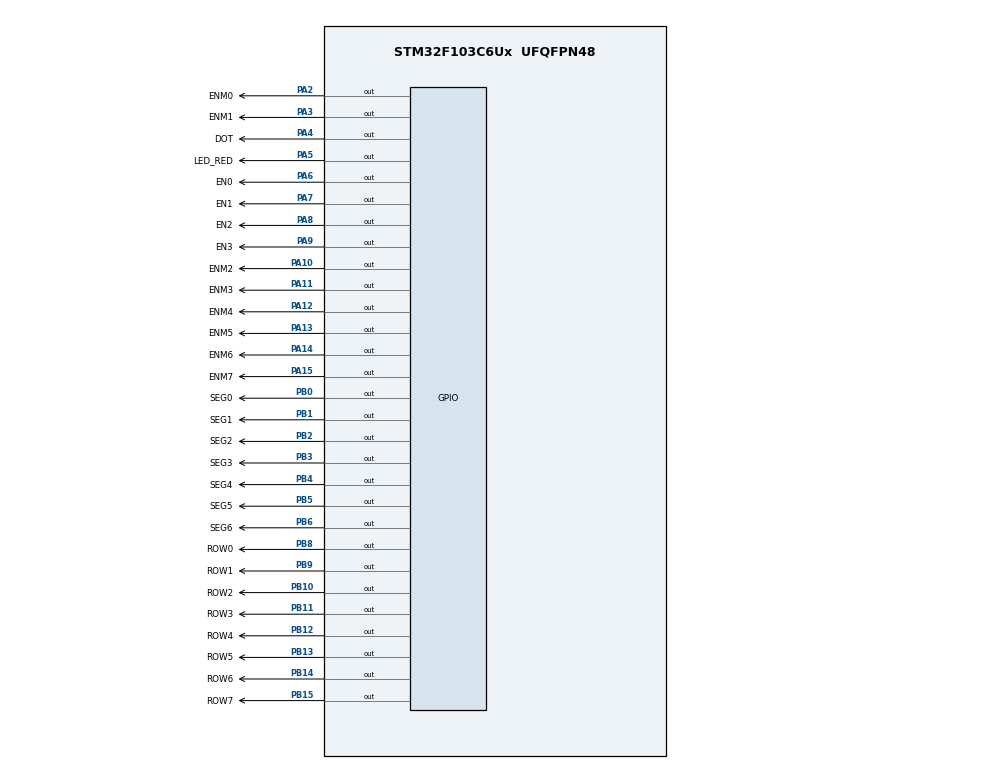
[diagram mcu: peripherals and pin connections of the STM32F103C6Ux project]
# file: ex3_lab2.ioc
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Mcu.Family=STM32F1
Mcu.Name=STM32F103C6Ux
Mcu.Package=UFQFPN48
NVIC.PriorityGroup=NVIC_PRIORITYGROUP_4
NVIC.TIM2_IRQn=true\:0\:0\:false\:false\:true\:true\:true
PA10.GPIO_Label=ENM2
PA10.Signal=GPIO_Output
PA11.GPIO_Label=ENM3
PA11.Signal=GPIO_Output
PA12.GPIO_Label=ENM4
PA12.Signal=GPIO_Output
PA13.GPIO_Label=ENM5
PA13.Signal=GPIO_Output
PA14.GPIO_Label=ENM6
PA14.Signal=GPIO_Output
PA15.GPIO_Label=ENM7
PA15.Signal=GPIO_Output
PA2.GPIO_Label=ENM0
PA2.Signal=GPIO_Output
PA3.GPIO_Label=ENM1
PA3.Signal=GPIO_Output
PA4.GPIO_Label=DOT
PA4.Signal=GPIO_Output
PA5.GPIO_Label=LED_RED
PA5.Signal=GPIO_Output
PA6.GPIO_Label=EN0
PA6.Signal=GPIO_Output
PA7.GPIO_Label=EN1
PA7.Signal=GPIO_Output
PA8.GPIO_Label=EN2
PA8.Signal=GPIO_Output
PA9.GPIO_Label=EN3
PA9.Signal=GPIO_Output
PB0.GPIO_Label=SEG0
PB0.Signal=GPIO_Output
PB1.GPIO_Label=SEG1
PB1.Signal=GPIO_Output
PB10.GPIO_Label=ROW2
PB10.Signal=GPIO_Output
PB11.GPIO_Label=ROW3
PB11.Signal=GPIO_Output
PB12.GPIO_Label=ROW4
PB12.Signal=GPIO_Output
PB13.GPIO_Label=ROW5
PB13.Signal=GPIO_Output
PB14.GPIO_Label=ROW6
PB14.Signal=GPIO_Output
PB15.GPIO_Label=ROW7
PB15.Signal=GPIO_Output
PB2.GPIO_Label=SEG2
PB2.Signal=GPIO_Output
PB3.GPIO_Label=SEG3
PB3.Signal=GPIO_Output
PB4.GPIO_Label=SEG4
PB4.Signal=GPIO_Output
PB5.GPIO_Label=SEG5
PB5.Signal=GPIO_Output
PB6.GPIO_Label=SEG6
PB6.Signal=GPIO_Output
PB8.GPIO_Label=ROW0
PB8.Signal=GPIO_Output
PB9.GPIO_Label=ROW1
PB9.Signal=GPIO_Output
ProjectManager.HeapSize=0x200
ProjectManager.StackSize=0x400
ProjectManager.TargetToolchain=STM32CubeIDE
RCC.APB1Freq_Value=8000000
RCC.APB2Freq_Value=8000000
TIM2.Period=9
TIM2.Prescaler=799
VP_SYS_VS_ND.Mode=No_Debug
VP_TIM2_VS_ClockSourceINT.Mode=Internal
board=custom

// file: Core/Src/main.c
/* USER CODE BEGIN Header */
/**
  ******************************************************************************
  * @file           : main.c
  * @brief          : Main program body
  ******************************************************************************
  * @attention
  *
  * <h2><center>&copy; Copyright (c) 2022 STMicroelectronics.
  * All rights reserved.</center></h2>
  *
  * This software component is licensed by ST under BSD 3-Clause license,
  * the "License"; You may not use this file except in compliance with the
  * License. You may obtain a copy of the License at:
  *                        opensource.org/licenses/BSD-3-Clause
  *
  ******************************************************************************
  */
/* USER CODE END Header */
#include "main.h"

/* USER CODE BEGIN Includes */
#include "software_timer.h"
/* USER CODE END Includes */

TIM_HandleTypeDef htim2;

void SystemClock_Config(void);
static void MX_GPIO_Init(void);
static void MX_TIM2_Init(void);

/* USER CODE BEGIN 0 */
int hour = 15 , minute = 8 , second = 50;
void display7SEG(int num){
	uint16_t display[10] = {0x3f, 0x06, 0x5b, 0x4f, 0x66, 0x6d, 0x7D, 0x07, 0x7F, 0x6f};
	uint16_t bit_var = display[num];
	HAL_GPIO_WritePin(GPIOB, bit_var, RESET);
	HAL_GPIO_WritePin(GPIOB, ~bit_var, SET);
}
const int MAX_LED = 4;
int index_led = 0;
int led_buffer[4] = {1,2,3,4};
void update7SEG(int index){
	switch(index){
	case 0:
		// Display the first 7 SEG with led_buffer [0]
		HAL_GPIO_WritePin(GPIOA, EN0_Pin, RESET);
		HAL_GPIO_WritePin(GPIOA, EN1_Pin | EN2_Pin | EN3_Pin, SET);
		display7SEG(led_buffer[0]);
		break;
	case 1:
		// Display the second 7 SEG with led_buffer [1]
		HAL_GPIO_WritePin(GPIOA, EN1_Pin, RESET);
		HAL_GPIO_WritePin(GPIOA, EN0_Pin | EN2_Pin | EN3_Pin, SET);
		display7SEG(led_buffer[1]);
		break;
	case 2:
		// Display the third 7 SEG with led_buffer [2]
		HAL_GPIO_WritePin(GPIOA, EN2_Pin, RESET);
		HAL_GPIO_WritePin(GPIOA, EN0_Pin | EN1_Pin | EN3_Pin, SET);
		display7SEG(led_buffer[2]);
		break;
	case 3:
		// Display the forth 7 SEG with led_buffer [3]
		HAL_GPIO_WritePin(GPIOA, EN3_Pin, RESET);
		HAL_GPIO_WritePin(GPIOA, EN0_Pin| EN1_Pin | EN2_Pin , SET);
		display7SEG(led_buffer[3]);
		break;
	default:
		break;
	}
}
void updateClockBuffer(){
	if(hour >= 0 && hour <=9){
		led_buffer[0] = 0;
		led_buffer[1] = hour;
	}
	if(hour >=10 && hour <=23){
		led_buffer[1] = hour%10;
		led_buffer[0] = hour/10;
	}
	if(minute >= 0 && minute <=9){
			led_buffer[2] = 0;
			led_buffer[3] = minute;
		}
	if(minute >=10 && minute <=59){
			led_buffer[3] = minute%10;
			led_buffer[2] = minute/10;
		}
}
void HAL_TIM_PeriodElapsedCallback(TIM_HandleTypeDef* htim)
{
	timerRun();
}
//LED MATRIX

const int MAX_LED_MATRIX = 8;
int index_led_matrix = 0;
//uint8_t matrix_buffer[8] = {0x01, 0x02, 0x03, 0x04, 0x05, 0x06, 0x07, 0x08};
uint8_t matrix_buffer[8] = {0x00, 0xFC, 0xfe, 0x33, 0x33, 0xFE, 0xFC, 0x00};
//chang_matrix_buffer is used to shift left elements in matrix_buffer
void chang_matrix_buffer(uint8_t matrix_buffer[], uint8_t n){
	//create temporary variable var to convert matrix_buffer[i]
	// and matrix_buffer[i+1];
	// temp variable is used to change value the first value
	//and the final value element
	uint8_t temp;
	temp = matrix_buffer[0];
	uint8_t var;
	for(uint8_t i = 0; i<n-1; ++i){
		var = matrix_buffer[i];
		matrix_buffer[i] = matrix_buffer[i+1];
		matrix_buffer[i + 1] = var;
	}
	matrix_buffer[n-1] = temp;
}
void updateLEDMatrix (int index ) {
	switch (index) {
	case 0:
		HAL_GPIO_WritePin(ENM0_GPIO_Port, ENM0_Pin, RESET);
		HAL_GPIO_WritePin(GPIOA, ENM1_Pin|ENM2_Pin|ENM3_Pin|ENM4_Pin|ENM5_Pin|ENM6_Pin|ENM7_Pin, SET);
		HAL_GPIO_WritePin(GPIOB, 0xff<<8, SET);
		HAL_GPIO_WritePin(GPIOB, matrix_buffer[index]<<8, RESET);
		break ;
	case 1:
		HAL_GPIO_WritePin(ENM1_GPIO_Port, ENM1_Pin, RESET);
		HAL_GPIO_WritePin(GPIOA, ENM0_Pin|ENM2_Pin|ENM3_Pin|ENM4_Pin|ENM5_Pin|ENM6_Pin|ENM7_Pin, SET);
		HAL_GPIO_WritePin(GPIOB, 0xff<<8, SET);
		HAL_GPIO_WritePin(GPIOB, matrix_buffer[index]<<8, RESET);
		break;
	case 2:
		HAL_GPIO_WritePin(ENM2_GPIO_Port, ENM2_Pin, RESET);
		HAL_GPIO_WritePin(GPIOA, ENM0_Pin|ENM1_Pin| ENM3_Pin|ENM4_Pin|ENM5_Pin|ENM6_Pin|ENM7_Pin, SET);
		HAL_GPIO_WritePin(GPIOB, 0xff<<8, SET);
		HAL_GPIO_WritePin(GPIOB, matrix_buffer[index]<<8, RESET);
		break;
	case 3:
		HAL_GPIO_WritePin(ENM3_GPIO_Port, ENM3_Pin, RESET);
		HAL_GPIO_WritePin(GPIOA, ENM0_Pin|ENM1_Pin|ENM2_Pin|ENM4_Pin|ENM5_Pin|ENM6_Pin|ENM7_Pin, SET);
		HAL_GPIO_WritePin(GPIOB, 0xff<<8, SET);
		HAL_GPIO_WritePin(GPIOB, matrix_buffer[index]<<8, RESET);
		break;
	case 4:
		HAL_GPIO_WritePin(ENM4_GPIO_Port, ENM4_Pin, RESET);
		HAL_GPIO_WritePin(GPIOA, ENM0_Pin|ENM1_Pin|ENM2_Pin|ENM3_Pin|ENM5_Pin|ENM6_Pin|ENM7_Pin, SET);
		HAL_GPIO_WritePin(GPIOB, 0xff<<8, SET);
		HAL_GPIO_WritePin(GPIOB, matrix_buffer[index]<<8, RESET);
		break;
	case 5:
		HAL_GPIO_WritePin(ENM5_GPIO_Port, ENM5_Pin, RESET);
		HAL_GPIO_WritePin(GPIOA, ENM0_Pin|ENM1_Pin|ENM2_Pin|ENM3_Pin|ENM4_Pin|ENM6_Pin|ENM7_Pin, SET);
		HAL_GPIO_WritePin(GPIOB, 0xff<<8, SET);
		HAL_GPIO_WritePin(GPIOB, matrix_buffer[index]<<8, RESET);
		break;
	case 6:
		HAL_GPIO_WritePin(ENM6_GPIO_Port, ENM6_Pin, RESET);
		HAL_GPIO_WritePin(GPIOA, ENM0_Pin|ENM1_Pin|ENM2_Pin|ENM3_Pin|ENM4_Pin|ENM5_Pin|ENM7_Pin, SET);
		HAL_GPIO_WritePin(GPIOB, 0xff<<8, SET);
		HAL_GPIO_WritePin(GPIOB, matrix_buffer[index]<<8, RESET);
		break;
	case 7:
		HAL_GPIO_WritePin(ENM7_GPIO_Port, ENM7_Pin, RESET);
		HAL_GPIO_WritePin(GPIOA, ENM0_Pin|ENM1_Pin|ENM2_Pin|ENM3_Pin|ENM4_Pin|ENM5_Pin|ENM6_Pin, SET);
		HAL_GPIO_WritePin(GPIOB, 0xff<<8, SET);
		HAL_GPIO_WritePin(GPIOB, matrix_buffer[index]<<8, RESET);
		break;
	default:
		break;
	}
}
/* USER CODE END 0 */

int main(void)
{

  /* MCU Configuration--------------------------------------------------------*/

  /* Reset of all peripherals, Initializes the Flash interface and the Systick. */
  HAL_Init();

  /* Configure the system clock */
  SystemClock_Config();

  /* Initialize all configured peripherals */
  MX_GPIO_Init();
  MX_TIM2_Init();
  /* USER CODE BEGIN 2 */
  HAL_TIM_Base_Start_IT(&htim2);
  setTimer0(100);
  setTimer1(25) ;
  setTimer2(10) ;
  setTimer3(10);
  /* USER CODE END 2 */

  /* Infinite loop */
  /* USER CODE BEGIN WHILE */
  while (1)
  {
	  //DOT and LED_RED
	  if(timer0_flag == 1) {
	  		  HAL_GPIO_TogglePin(DOT_GPIO_Port, DOT_Pin);
	  		  HAL_GPIO_TogglePin(LED_RED_GPIO_Port, LED_RED_Pin);
	  		  setTimer0(100) ;
	  }
	  //update7SEG
	  if(timer1_flag == 1){
		  update7SEG(index_led++);
		  		if(index_led > 3) index_led = 0;
		  setTimer1(25);
	  }
	  //clock
	  if(timer2_flag == 1){
		  second++;
		  if(second >= 60){
		 	second = 0;
		 	minute++;
		 }
		  if(minute >=60){
		 	minute = 0;
		 	hour++;
		 	}
		  if(hour >=24){
			  hour = 0;
		  }
		  updateClockBuffer();
		  setTimer2(100);
	  }
	  //
	  if(timer3_flag == 1){
		  if(index_led_matrix > 7) {
			  index_led_matrix = 0;
		      chang_matrix_buffer(matrix_buffer, 8);
		  }
		  updateLEDMatrix(index_led_matrix++);
		  setTimer3(20);
	  }
    /* USER CODE END WHILE */

  }
}

void SystemClock_Config(void)
{
  RCC_OscInitTypeDef RCC_OscInitStruct = {0};
  RCC_ClkInitTypeDef RCC_ClkInitStruct = {0};

  /** Initializes the RCC Oscillators according to the specified parameters
  * in the RCC_OscInitTypeDef structure.
  */
  RCC_OscInitStruct.OscillatorType = RCC_OSCILLATORTYPE_HSI;
  RCC_OscInitStruct.HSIState = RCC_HSI_ON;
  RCC_OscInitStruct.HSICalibrationValue = RCC_HSICALIBRATION_DEFAULT;
  RCC_OscInitStruct.PLL.PLLState = RCC_PLL_NONE;
  if (HAL_RCC_OscConfig(&RCC_OscInitStruct) != HAL_OK)
  {
    Error_Handler();
  }
  /** Initializes the CPU, AHB and APB buses clocks
  */
  RCC_ClkInitStruct.ClockType = RCC_CLOCKTYPE_HCLK|RCC_CLOCKTYPE_SYSCLK
                              |RCC_CLOCKTYPE_PCLK1|RCC_CLOCKTYPE_PCLK2;
  RCC_ClkInitStruct.SYSCLKSource = RCC_SYSCLKSOURCE_HSI;
  RCC_ClkInitStruct.AHBCLKDivider = RCC_SYSCLK_DIV1;
  RCC_ClkInitStruct.APB1CLKDivider = RCC_HCLK_DIV1;
  RCC_ClkInitStruct.APB2CLKDivider = RCC_HCLK_DIV1;

  if (HAL_RCC_ClockConfig(&RCC_ClkInitStruct, FLASH_LATENCY_0) != HAL_OK)
  {
    Error_Handler();
  }
}

static void MX_TIM2_Init(void)
{

  TIM_ClockConfigTypeDef sClockSourceConfig = {0};
  TIM_MasterConfigTypeDef sMasterConfig = {0};

  htim2.Instance = TIM2;
  htim2.Init.Prescaler = 799;
  htim2.Init.CounterMode = TIM_COUNTERMODE_UP;
  htim2.Init.Period = 9;
  htim2.Init.ClockDivision = TIM_CLOCKDIVISION_DIV1;
  htim2.Init.AutoReloadPreload = TIM_AUTORELOAD_PRELOAD_DISABLE;
  if (HAL_TIM_Base_Init(&htim2) != HAL_OK)
  {
    Error_Handler();
  }
  sClockSourceConfig.ClockSource = TIM_CLOCKSOURCE_INTERNAL;
  if (HAL_TIM_ConfigClockSource(&htim2, &sClockSourceConfig) != HAL_OK)
  {
    Error_Handler();
  }
  sMasterConfig.MasterOutputTrigger = TIM_TRGO_RESET;
  sMasterConfig.MasterSlaveMode = TIM_MASTERSLAVEMODE_DISABLE;
  if (HAL_TIMEx_MasterConfigSynchronization(&htim2, &sMasterConfig) != HAL_OK)
  {
    Error_Handler();
  }

}

static void MX_GPIO_Init(void)
{
  GPIO_InitTypeDef GPIO_InitStruct = {0};

  /* GPIO Ports Clock Enable */
  __HAL_RCC_GPIOA_CLK_ENABLE();
  __HAL_RCC_GPIOB_CLK_ENABLE();

  /*Configure GPIO pin Output Level */
  HAL_GPIO_WritePin(GPIOA, ENM0_Pin|ENM1_Pin|DOT_Pin|LED_RED_Pin
                          |EN0_Pin|EN1_Pin|EN2_Pin|EN3_Pin
                          |ENM2_Pin|ENM3_Pin|ENM4_Pin|ENM5_Pin
                          |ENM6_Pin|ENM7_Pin, GPIO_PIN_RESET);

  /*Configure GPIO pin Output Level */
  HAL_GPIO_WritePin(GPIOB, SEG0_Pin|SEG1_Pin|SEG2_Pin|ROW2_Pin
                          |ROW3_Pin|ROW4_Pin|ROW5_Pin|ROW6_Pin
                          |ROW7_Pin|SEG3_Pin|SEG4_Pin|SEG5_Pin
                          |SEG6_Pin|ROW0_Pin|ROW1_Pin, GPIO_PIN_RESET);

  /*Configure GPIO pins : ENM0_Pin ENM1_Pin DOT_Pin LED_RED_Pin
                           EN0_Pin EN1_Pin EN2_Pin EN3_Pin
                           ENM2_Pin ENM3_Pin ENM4_Pin ENM5_Pin
                           ENM6_Pin ENM7_Pin */
  GPIO_InitStruct.Pin = ENM0_Pin|ENM1_Pin|DOT_Pin|LED_RED_Pin
                          |EN0_Pin|EN1_Pin|EN2_Pin|EN3_Pin
                          |ENM2_Pin|ENM3_Pin|ENM4_Pin|ENM5_Pin
                          |ENM6_Pin|ENM7_Pin;
  GPIO_InitStruct.Mode = GPIO_MODE_OUTPUT_PP;
  GPIO_InitStruct.Pull = GPIO_NOPULL;
  GPIO_InitStruct.Speed = GPIO_SPEED_FREQ_LOW;
  HAL_GPIO_Init(GPIOA, &GPIO_InitStruct);

  /*Configure GPIO pins : SEG0_Pin SEG1_Pin SEG2_Pin ROW2_Pin
                           ROW3_Pin ROW4_Pin ROW5_Pin ROW6_Pin
                           ROW7_Pin SEG3_Pin SEG4_Pin SEG5_Pin
                           SEG6_Pin ROW0_Pin ROW1_Pin */
  GPIO_InitStruct.Pin = SEG0_Pin|SEG1_Pin|SEG2_Pin|ROW2_Pin
                          |ROW3_Pin|ROW4_Pin|ROW5_Pin|ROW6_Pin
                          |ROW7_Pin|SEG3_Pin|SEG4_Pin|SEG5_Pin
                          |SEG6_Pin|ROW0_Pin|ROW1_Pin;
  GPIO_InitStruct.Mode = GPIO_MODE_OUTPUT_PP;
  GPIO_InitStruct.Pull = GPIO_NOPULL;
  GPIO_InitStruct.Speed = GPIO_SPEED_FREQ_LOW;
  HAL_GPIO_Init(GPIOB, &GPIO_InitStruct);

}

void Error_Handler(void)
{
  __disable_irq();
  while (1)
  {
  }
}

/************************ (C) COPYRIGHT STMicroelectronics *****END OF FILE****/
